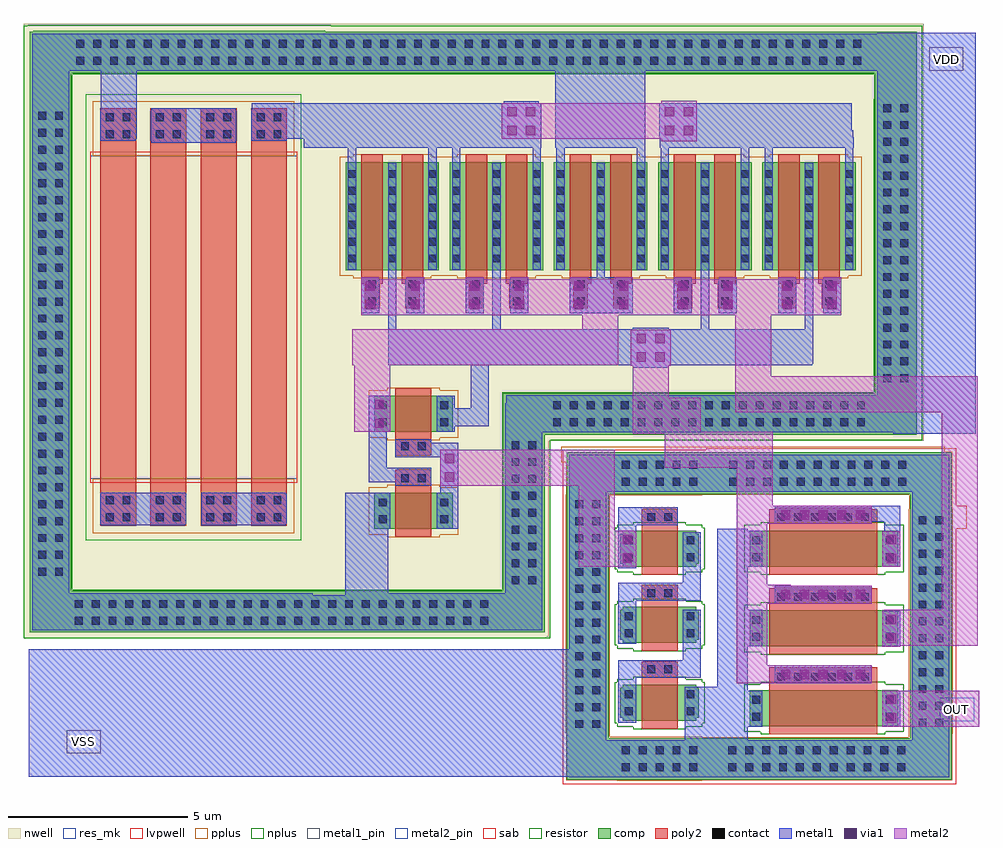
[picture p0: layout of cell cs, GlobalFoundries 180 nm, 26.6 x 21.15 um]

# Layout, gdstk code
import gdstk
lib = gdstk.Library(unit=1e-6, precision=1e-09)
def R(c, l, rs):  # rectangles x0, y0, x1, y1
    for r in rs: c.add(gdstk.rectangle(r[:2], r[2:], *l))
def A(c, l, x, y, w, h, nx, ny, dx, dy):  # array of equal rectangles
    R(c, l, [(x+i*dx, y+j*dy, x+i*dx+w, y+j*dy+h) for i in range(nx) for j in range(ny)])
nwell = (21, 0)
comp = (22, 0)
poly2 = (30, 0)
pplus = (31, 0)
nplus = (32, 0)
contact = (33, 0)
metal1 = (34, 0)
metal1_pin = (34, 10)
via1 = (35, 0)
metal2 = (36, 0)
metal2_pin = (36, 10)
sab = (49, 0)
resistor = (62, 0)
res_mk = (110, 5)
lvpwell = (204, 0)

cs_m345 = lib.new_cell('cs_m345')
A(cs_m345, comp, 11.61, -8.49, 4.13, 1, 1, 3, 0, 2.22)
R(cs_m345, comp, [(10.4,-9.98,17.23,-9.85), (10.5,-9.85,17.23,-8.95), (10.4,-8.95,17.23,-8.82), (16.07,-8.82,17.23,-2.03), (10.35,-2.03,17.23,-1.965), (10.195,-1.965,17.23,-0.935), (10.35,-0.935,17.23,-0.87)])
R(cs_m345, poly2, [(12.15,-8.71,15.15,-6.85), (12.15,-6.49,15.15,-4.65), (12.3,-4.65,15,-4.63), (12.15,-4.27,15.15,-2.45), (12.295,-2.45,15.005,-2.44), (12.3,-2.44,15,-2.41)])
R(cs_m345, pplus, [(10.38,-10,17.25,-9.83), (10.48,-9.83,17.25,-8.97), (10.38,-8.97,17.25,-8.8), (16.04,-8.8,17.25,-8.695), (16.04,-8.695,17.26,-2.455), (16.05,-2.455,17.25,-2.05), (10.33,-2.05,17.25,-1.985), (10.175,-1.985,17.25,-0.915), (10.33,-0.915,17.25,-0.85)])
A(cs_m345, nplus, 11.45, -8.65, 4.45, 1.32, 1, 3, 0, 2.22)
R(cs_m345, nplus, [(11.92,-8.72,15.38,-8.65), (11.92,-7.33,15.38,-7.26), (11.92,-6.5,15.38,-6.43), (11.92,-5.11,15.38,-5.04), (11.92,-4.28,15.38,-4.21), (11.92,-2.89,15.38,-2.82)])
A(cs_m345, contact, 11.015, -9.745, 0.22, 0.22, 11, 2, 0.47, 0.47)
A(cs_m345, contact, 16.305, -8.505, 0.22, 0.22, 1, 13, 0, 0.47)
A(cs_m345, contact, 16.775, -8.505, 0.22, 0.22, 1, 13, 0, 0.47)
A(cs_m345, contact, 12.365, -7.22, 0.22, 0.22, 6, 3, 0.47, 2.22)
A(cs_m345, contact, 11.04, -1.795, 0.22, 0.22, 11, 2, 0.47, 0.47)
R(cs_m345, contact, [(11.68,-8.335,11.9,-8.115), (15.4,-8.335,15.62,-8.115), (11.68,-7.865,11.9,-7.645), (15.4,-7.865,15.62,-7.645), (11.68,-6.115,11.9,-5.895), (15.4,-6.115,15.62,-5.895), (11.68,-5.645,11.9,-5.425), (15.4,-5.645,15.62,-5.425), (11.68,-3.895,11.9,-3.675), (15.4,-3.895,15.62,-3.675), (11.68,-3.425,11.9,-3.205), (15.4,-3.425,15.62,-3.205)])
A(cs_m345, metal1, 15.3, -8.5, 0.5, 1, 1, 3, 0, 2.22)
R(cs_m345, metal1, [(10.195,-9.915,17.165,-8.885), (10.7,-8.885,11.55,-8.5), (16.135,-8.885,17.165,-1.965), (10.7,-8.5,11.95,-7.5), (10.7,-7.5,11.55,-6.26), (12.3,-7.3,15,-6.8), (10.7,-6.26,11.905,-6.25), (10.7,-6.25,11.95,-5.25), (10.7,-5.25,11.55,-4.05), (12.3,-5.08,15,-4.58), (10.7,-4.05,11.95,-3.05), (15.35,-3.06,15.8,-2.8), (10.7,-3.05,11.55,-3), (12.3,-2.86,15,-2.8), (12.3,-2.8,15.8,-2.36), (14.65,-2.36,15.8,-2.35), (10.35,-1.965,17.165,-0.935)])
A(cs_m345, via1, 12.48, -7.18, 0.26, 0.26, 5, 3, 0.52, 2.22)
R(cs_m345, via1, [(15.42,-8.39,15.68,-8.13), (15.42,-7.87,15.68,-7.61), (15.42,-6.17,15.68,-5.91), (15.42,-5.65,15.68,-5.39), (15.42,-3.95,15.68,-3.69), (15.42,-3.43,15.68,-3.17)])
A(cs_m345, metal2, 15.3, -8.5, 0.5, 1, 1, 3, 0, 2.22)
A(cs_m345, metal2, 11.25, -7.3, 3.75, 0.5, 1, 3, 0, 2.22)
R(cs_m345, metal2, [(11.25,-6.8,12.1,-5.08), (11.25,-4.58,12.75,-4.55), (11.25,-4.55,12.1,-2.86), (11.25,-2.36,12.75,-2.35), (10.9,-1.3,11.35,-0.55)])
R(cs_m345, lvpwell, [(10.4,-10.1,17.35,-0.75)])

cs_m67 = lib.new_cell('cs_m67')
R(cs_m67, nwell, [(-6.85,1.35,-3.2,6.75)])
R(cs_m67, comp, [(-6.04,2,-3.86,3), (-6.04,4.7,-3.86,5.7)])
R(cs_m67, poly2, [(-5.45,1.78,-4.45,3.65), (-5.405,3.65,-4.495,3.66), (-5.405,4.04,-4.495,4.05), (-5.45,4.05,-4.45,5.92)])
R(cs_m67, pplus, [(-5.68,1.77,-4.22,1.84), (-6.2,1.84,-3.7,3.16), (-5.68,3.16,-4.22,3.23), (-5.68,4.47,-4.22,4.54), (-6.2,4.54,-3.7,5.86), (-5.68,5.86,-4.22,5.93)])
R(cs_m67, contact, [(-5.92,2.155,-5.7,2.375), (-4.2,2.155,-3.98,2.375), (-5.92,2.625,-5.7,2.845), (-4.2,2.625,-3.98,2.845), (-5.295,3.295,-5.075,3.515), (-4.825,3.295,-4.605,3.515), (-5.295,4.185,-5.075,4.405), (-4.825,4.185,-4.605,4.405), (-5.92,4.855,-5.7,5.075), (-4.2,4.855,-3.98,5.075), (-5.92,5.325,-5.7,5.545), (-4.2,5.325,-3.98,5.545)])
R(cs_m67, metal1, [(-6.2,2,-5.6,3), (-4.3,2,-3.8,3), (-6.2,3,-5.7,4), (-5.45,3.2,-4.45,3.3), (-5.45,3.3,-3.7,3.7), (-4.2,3.7,-3.7,4.7), (-6.2,4,-4.45,4.4), (-5.45,4.4,-4.45,4.5), (-6.85,4.7,-5.6,5.7), (-4.3,4.7,-3.7,5.7)])

cs_m12 = lib.new_cell('cs_m12')
R(cs_m12, nwell, [(6.85,-7.3,21.4,-7.25), (6.85,-7.25,21.47,-1.8), (6.85,-1.8,31.9,9.8)])
A(cs_m12, comp, 15.81, 2.95, 2.6, 3, 5, 1, 2.9, 0)
R(cs_m12, comp, [(7.02,-7.13,21.35,-5.97), (7.02,-5.97,8.18,8.43), (20.19,-5.97,21.35,-1.63), (20.19,-1.63,31.7,-0.47), (30.54,-0.47,31.7,8.43), (7.02,8.43,31.7,9.59), (7.12,9.59,15.24,9.61)])
A(cs_m12, poly2, 8.98, -4.17, 1, 11.62, 4, 1, 1.4, 0)
R(cs_m12, poly2, [(16.345,1.89,16.755,2.57), (17.465,1.89,17.875,2.57), (19.245,1.89,19.655,2.57), (20.365,1.89,20.775,2.57), (22.145,1.89,22.555,2.57), (23.265,1.89,23.675,2.57), (25.045,1.89,25.455,2.57), (26.165,1.89,26.575,2.57), (27.945,1.89,28.355,2.57), (29.065,1.89,29.475,2.57), (16.25,2.57,16.85,6.17), (17.37,2.57,17.97,6.17), (19.15,2.57,19.75,6.17), (20.27,2.57,20.87,6.17), (22.05,2.57,22.65,6.17), (23.17,2.57,23.77,6.17), (24.95,2.57,25.55,6.17), (26.07,2.57,26.67,6.17), (27.85,2.57,28.45,6.17), (28.97,2.57,29.57,6.17)])
A(cs_m12, pplus, 16.02, 2.72, 2.18, 0.07, 5, 2, 2.9, 3.39)
R(cs_m12, pplus, [(8.78,-4.37,14.38,-2.86), (15.65,2.79,30.17,6.11), (8.78,6.14,14.38,7.65)])
R(cs_m12, nplus, [(6.86,-7.29,21.51,-5.95), (6.86,-5.95,8.21,7.61), (20.17,-5.95,21.51,-1.79), (20.17,-1.79,31.86,-0.45), (30.51,-0.45,31.86,7.71), (6.86,7.61,8.2,8.4), (30.52,7.71,31.86,8.4), (6.86,8.4,31.86,9.75), (6.96,9.75,15.4,9.77)])
A(cs_m12, contact, 8.275, -6.92, 0.22, 0.22, 25, 2, 0.47, 0.47)
A(cs_m12, contact, 20.43, -5.79, 0.22, 0.22, 1, 9, 0, 0.47)
A(cs_m12, contact, 20.9, -5.79, 0.22, 0.22, 1, 9, 0, 0.47)
A(cs_m12, contact, 7.255, -5.555, 0.22, 0.22, 1, 28, 0, 0.47)
A(cs_m12, contact, 7.725, -5.555, 0.22, 0.22, 1, 28, 0, 0.47)
A(cs_m12, contact, 21.585, -1.395, 0.22, 0.22, 19, 2, 0.47, 0.47)
A(cs_m12, contact, 30.775, -0.17, 0.22, 0.22, 1, 17, 0, 0.47)
A(cs_m12, contact, 31.245, -0.17, 0.22, 0.22, 1, 17, 0, 0.47)
A(cs_m12, contact, 15.88, 3.165, 0.22, 0.22, 3, 6, 1.12, 0.47)
A(cs_m12, contact, 18.78, 3.165, 0.22, 0.22, 3, 6, 1.12, 0.47)
A(cs_m12, contact, 21.68, 3.165, 0.22, 0.22, 3, 6, 1.12, 0.47)
A(cs_m12, contact, 24.58, 3.165, 0.22, 0.22, 3, 6, 1.12, 0.47)
A(cs_m12, contact, 27.48, 3.165, 0.22, 0.22, 3, 6, 1.12, 0.47)
A(cs_m12, contact, 8.315, 8.665, 0.22, 0.22, 47, 2, 0.47, 0.47)
R(cs_m12, contact, [(9.135,-4.035,9.355,-3.815), (9.605,-4.035,9.825,-3.815), (10.535,-4.035,10.755,-3.815), (11.005,-4.035,11.225,-3.815), (11.935,-4.035,12.155,-3.815), (12.405,-4.035,12.625,-3.815), (13.335,-4.035,13.555,-3.815), (13.805,-4.035,14.025,-3.815), (9.135,-3.565,9.355,-3.345), (9.605,-3.565,9.825,-3.345), (10.535,-3.565,10.755,-3.345), (11.005,-3.565,11.225,-3.345), (11.935,-3.565,12.155,-3.345), (12.405,-3.565,12.625,-3.345), (13.335,-3.565,13.555,-3.345), (13.805,-3.565,14.025,-3.345), (16.44,1.975,16.66,2.195), (17.56,1.975,17.78,2.195), (19.34,1.975,19.56,2.195), (20.46,1.975,20.68,2.195), (22.24,1.975,22.46,2.195), (23.36,1.975,23.58,2.195), (25.14,1.975,25.36,2.195), (26.26,1.975,26.48,2.195), (28.04,1.975,28.26,2.195), (29.16,1.975,29.38,2.195), (16.44,2.445,16.66,2.665), (17.56,2.445,17.78,2.665), (19.34,2.445,19.56,2.665), (20.46,2.445,20.68,2.665), (22.24,2.445,22.46,2.665), (23.36,2.445,23.58,2.665), (25.14,2.445,25.36,2.665), (26.26,2.445,26.48,2.665), (28.04,2.445,28.26,2.665), (29.16,2.445,29.38,2.665), (9.135,6.625,9.355,6.845), (9.605,6.625,9.825,6.845), (10.535,6.625,10.755,6.845), (11.005,6.625,11.225,6.845), (11.935,6.625,12.155,6.845), (12.405,6.625,12.625,6.845), (13.335,6.625,13.555,6.845), (13.805,6.625,14.025,6.845), (9.135,7.095,9.355,7.315), (9.605,7.095,9.825,7.315), (10.535,7.095,10.755,7.315), (11.005,7.095,11.225,7.315), (11.935,7.095,12.155,7.315), (12.405,7.095,12.625,7.315), (13.335,7.095,13.555,7.315), (13.805,7.095,14.025,7.315)])
R(cs_m12, metal1, [(7.085,-7.065,21.285,-6.1), (7.085,-6.1,14.9,-6.035), (15.8,-6.1,21.285,-6.035), (7.085,-6.035,8.115,8.495), (15.8,-6.035,17,-3.4), (20.255,-6.035,21.285,-1.565), (9,-4.15,11.35,-4.105), (11.8,-4.15,14.15,-4.105), (8.99,-4.105,11.37,-3.275), (11.79,-4.105,14.17,-3.275), (9,-3.275,11.35,-3.25), (11.8,-3.275,14.15,-3.25), (20.255,-1.565,31.635,-0.75), (16.5,-1.5,17,-0.6), (18.4,-1.4,19.8,-0.9), (19.3,-0.9,19.8,0.3), (20.285,-0.75,31.635,-0.535), (30.605,-0.535,31.635,8.495), (17,0.3,28.8,0.35), (16.995,0.35,28.825,1.3), (16.995,1.3,17.225,5.94), (19.895,1.3,20.125,5.94), (25.695,1.3,25.925,5.94), (28.595,1.3,28.825,5.94), (16.25,1.75,16.75,2.75), (17.5,1.75,18,1.955), (19.15,1.75,19.65,2.75), (20.4,1.75,20.9,1.955), (22.05,1.75,23.8,2.75), (24.95,1.75,25.45,2.75), (26.2,1.75,26.7,1.955), (27.85,1.75,28.35,2.75), (29.1,1.75,29.6,1.955), (17.475,1.955,18,2.685), (20.375,1.955,20.9,2.685), (26.175,1.955,26.7,2.685), (29.075,1.955,29.6,2.685), (17.5,2.685,18,2.75), (20.4,2.685,20.9,2.75), (26.2,2.685,26.7,2.75), (29.1,2.685,29.6,2.75), (22.795,2.75,23.025,5.94), (15.875,2.96,16.105,6.35), (18.115,2.96,18.345,6.35), (18.775,2.96,19.005,6.35), (21.015,2.96,21.245,6.35), (21.675,2.96,21.905,6.35), (23.915,2.96,24.145,6.35), (24.575,2.96,24.805,6.35), (26.815,2.96,27.045,6.35), (27.475,2.96,27.705,6.35), (29.715,2.96,29.945,6.35), (14.65,6.35,21.25,6.6), (21.65,6.35,24.15,8.495), (24.55,6.35,29.95,6.65), (10.4,6.5,12.75,6.555), (8.99,6.555,9.97,6.6), (10.39,6.555,12.77,7.385), (13.19,6.555,14.17,6.6), (8.99,6.6,10,7.385), (13.19,6.6,21.25,7.385), (24.54,6.65,29.945,6.85), (24.54,6.85,29.9,7.6), (9,7.385,10,8.495), (10.4,7.385,12.75,7.45), (13.2,7.385,21.25,7.6), (20.21,7.6,21.19,7.65), (7.085,8.495,31.635,9.525)])
R(cs_m12, via1, [(16.62,-1.44,16.88,-1.18), (16.62,-0.92,16.88,-0.66), (16.37,1.86,16.63,2.12), (17.62,1.86,17.88,2.12), (19.27,1.86,19.53,2.12), (20.52,1.86,20.78,2.12), (22.17,1.86,22.43,2.12), (23.42,1.86,23.68,2.12), (25.07,1.86,25.33,2.12), (26.32,1.86,26.58,2.12), (27.97,1.86,28.23,2.12), (29.22,1.86,29.48,2.12), (16.37,2.38,16.63,2.64), (17.62,2.38,17.88,2.64), (19.27,2.38,19.53,2.64), (20.52,2.38,20.78,2.64), (22.17,2.38,22.43,2.64), (23.42,2.38,23.68,2.64), (25.07,2.38,25.33,2.64), (26.32,2.38,26.58,2.64), (27.97,2.38,28.23,2.64), (29.22,2.38,29.48,2.64), (20.31,6.71,20.57,6.97), (20.83,6.71,21.09,6.97), (24.7,6.71,24.96,6.97), (25.22,6.71,25.48,6.97), (20.31,7.23,20.57,7.49), (20.83,7.23,21.09,7.49), (24.7,7.23,24.96,7.49), (25.22,7.23,25.48,7.49)])
R(cs_m12, metal2, [(16.05,-1.55,17.05,0.3), (16,0.3,23.4,1.3), (22.4,1.3,23.4,1.7), (16.25,1.7,29.6,2.7), (16.25,2.7,16.75,2.75), (17.5,2.7,18,2.75), (19.15,2.7,19.65,2.75), (20.4,2.7,20.9,2.75), (22.05,2.7,22.55,2.75), (23.3,2.7,23.8,2.75), (24.95,2.7,25.45,2.75), (26.2,2.7,26.7,2.75), (27.85,2.7,28.35,2.75), (29.1,2.7,29.6,2.75), (24.59,6.54,25.59,6.6), (20.15,6.6,25.59,7.6), (24.59,7.6,25.59,7.66)])
R(cs_m12, sab, [(8.7,-2.96,14.46,6.24), (8.7,-2.86,14.46,6.14)])
R(cs_m12, resistor, [(8.58,-4.57,14.58,7.85)])
A(cs_m12, res_mk, 8.98, -2.86, 1, 9, 4, 1, 1.4, 0)
R(cs_m12, res_mk, [(8.7,-2.86,14.46,6.14)])
cs_m12.add(gdstk.Reference(cs_m67, (22.65,1.45), x_reflection=True))

cs_m8 = lib.new_cell('cs_m8')
R(cs_m8, comp, [(-6.03,-10.48,-2.03,-9.32), (-6.03,-9.32,-4.87,-2.53), (-4.475,-8.84,-2.425,-8.755), (-4.54,-8.755,-2.36,-7.925), (-4.475,-7.925,-2.425,-7.84), (-4.475,-6.67,-2.425,-6.585), (-4.54,-6.585,-2.36,-5.755), (-4.475,-5.755,-2.425,-5.67), (-4.475,-4.55,-2.425,-4.465), (-4.54,-4.465,-2.36,-3.635), (-4.475,-3.635,-2.425,-3.55), (-6.03,-2.53,-2.03,-1.37)])
R(cs_m8, poly2, [(-3.95,-9.06,-2.95,-7.2), (-3.905,-7.2,-2.995,-7.18), (-3.95,-6.89,-2.95,-5.05), (-3.95,-4.77,-2.95,-2.95), (-3.905,-2.95,-2.995,-2.94)])
R(cs_m8, pplus, [(-4.64,-10.51,-2.26,-10.5), (-6.05,-10.5,-2.01,-9.3), (-6.05,-9.3,-2.26,-9.29), (-6.05,-9.29,-4.84,-9.195), (-6.06,-9.195,-4.84,-2.56), (-6.06,-2.56,-2.26,-2.555), (-6.05,-2.555,-2.26,-2.55), (-6.05,-2.55,-2.01,-1.35), (-4.64,-1.35,-2.26,-1.34)])
R(cs_m8, nplus, [(-4.18,-9.07,-2.72,-9), (-4.635,-9,-2.265,-8.915), (-4.7,-8.915,-2.2,-7.765), (-4.635,-7.765,-2.265,-7.68), (-4.18,-7.68,-2.72,-7.61), (-4.18,-6.9,-2.72,-6.83), (-4.635,-6.83,-2.265,-6.745), (-4.7,-6.745,-2.2,-5.595), (-4.635,-5.595,-2.265,-5.51), (-4.18,-5.51,-2.72,-5.44), (-4.18,-4.78,-2.72,-4.71), (-4.635,-4.71,-2.265,-4.625), (-4.7,-4.625,-2.2,-3.475), (-4.635,-3.475,-2.265,-3.39), (-4.18,-3.39,-2.72,-3.32)])
A(cs_m8, contact, -4.5, -10.245, 0.22, 0.22, 5, 2, 0.47, 0.47)
A(cs_m8, contact, -5.795, -9.04, 0.22, 0.22, 1, 14, 0, 0.47)
A(cs_m8, contact, -5.325, -9.04, 0.22, 0.22, 1, 14, 0, 0.47)
A(cs_m8, contact, -3.795, -7.52, 0.22, 0.22, 1, 3, 0, 2.12)
A(cs_m8, contact, -3.325, -7.52, 0.22, 0.22, 1, 3, 0, 2.12)
A(cs_m8, contact, -4.5, -2.295, 0.22, 0.22, 5, 2, 0.47, 0.47)
R(cs_m8, contact, [(-4.42,-8.685,-4.2,-8.465), (-2.7,-8.685,-2.48,-8.465), (-4.42,-8.215,-4.2,-7.995), (-2.7,-8.215,-2.48,-7.995), (-4.42,-6.515,-4.2,-6.295), (-2.7,-6.515,-2.48,-6.295), (-4.42,-6.045,-4.2,-5.825), (-2.7,-6.045,-2.48,-5.825), (-4.42,-4.395,-4.2,-4.175), (-2.7,-4.395,-2.48,-4.175), (-4.42,-3.925,-4.2,-3.705), (-2.7,-3.925,-2.48,-3.705)])
R(cs_m8, metal1, [(-5.965,-10.415,-2,-9.385), (-5.965,-9.385,-4.935,-2.465), (-2.75,-9.385,-2,-8.745), (-4.6,-8.9,-4.1,-7.65), (-2.755,-8.745,-2,-7.9), (-4.6,-7.65,-2.3,-7.15), (-2.8,-7.15,-2.3,-5.75), (-0.875,-6.76,-0.77,-6.75), (-4.6,-6.7,-4.1,-5.5), (-4.6,-5.5,-2.3,-5), (-2.8,-5,-2.3,-3.6), (-4.6,-4.6,-4.1,-3.4), (-4.6,-3.4,-2.95,-2.9), (-5.965,-2.465,-2,-1.435)])
R(cs_m8, lvpwell, [(-6.15,-10.6,-1.95,-1.3)])

c_cs = lib.new_cell('cs')
R(c_cs, comp, [(26.15,15.735,26.65,15.75), (26.15,16.75,26.65,16.765), (26.15,23.685,26.65,23.7), (26.15,24.7,26.65,24.715)])
R(c_cs, pplus, [(26.13,15.715,26.67,15.77), (26.13,16.73,26.67,16.785), (26.13,23.665,26.67,23.72), (22.06,24.51,22.2,24.8), (26.13,24.68,26.67,24.735), (22.06,24.8,23.61,24.81), (25.99,24.8,32.74,24.81), (22.06,24.81,32.74,24.94)])
R(c_cs, metal1, [(26.15,15.735,26.65,15.75), (7.25,15.75,22.85,19.3), (26.1,16.65,26.15,16.75), (26.1,16.75,26.65,18.25), (23.7,21.65,24.1,22.55), (26.15,23.685,26.65,23.7), (18.75,23.9,19.15,24.8), (26.15,24.7,26.65,24.715), (31.3,25.3,33.6,34.9), (24.05,27.14,25.05,28.24), (30.855,34.9,33.6,36.45)])
R(c_cs, metal1_pin, [(8.3,16.4,9.25,17.05), (32.3,35.4,33.25,36.05)])
R(c_cs, via1, [(23.77,21.71,24.03,21.97), (23.77,22.23,24.03,22.49), (18.82,23.96,19.08,24.22), (18.82,24.48,19.08,24.74), (24.16,27.3,24.42,27.56), (24.68,27.3,24.94,27.56), (24.16,27.82,24.42,28.08), (24.68,27.82,24.94,28.08)])
R(c_cs, metal2, [(31,17.15,33.7,18.15), (31.05,19.4,33.65,20.4), (32.65,20.4,33.65,25.9), (22.55,21.6,24.15,22.6), (22.55,22.6,23.55,23.85), (26.95,22.9,27.95,24.35), (18.7,23.85,23.55,24.85), (24.95,24.35,27.95,25.3), (24.05,25.3,27.95,25.35), (24.05,25.35,25.95,26.3), (26.9,25.9,33.65,26.9), (24.05,26.3,25.05,27.19), (26.9,26.9,27.9,29.6), (23.99,27.19,25.11,28.19)])
R(c_cs, metal2_pin, [(32.6,17.3,33.55,17.95)])
R(c_cs, lvpwell, [(26.1,16.65,26.65,18.25), (32.8,22.65,33.35,22.8), (32.1,22.8,33.35,22.85), (32,22.85,33.35,23.3)])
c_cs.add(gdstk.Reference(cs_m345, (15.7,25.65)))
c_cs.add(gdstk.Reference(cs_m12, (0.25,26.9)))
c_cs.add(gdstk.Reference(cs_m8, (28.25,26.15)))
c_cs.add(gdstk.Label('VDD', (32.775,35.725), layer=34, texttype=10))
c_cs.add(gdstk.Label('VSS', (8.775,16.725), layer=34, texttype=10))
c_cs.add(gdstk.Label('OUT', (33.075,17.625), layer=36, texttype=10))

lib.write_gds('cs.gds')
